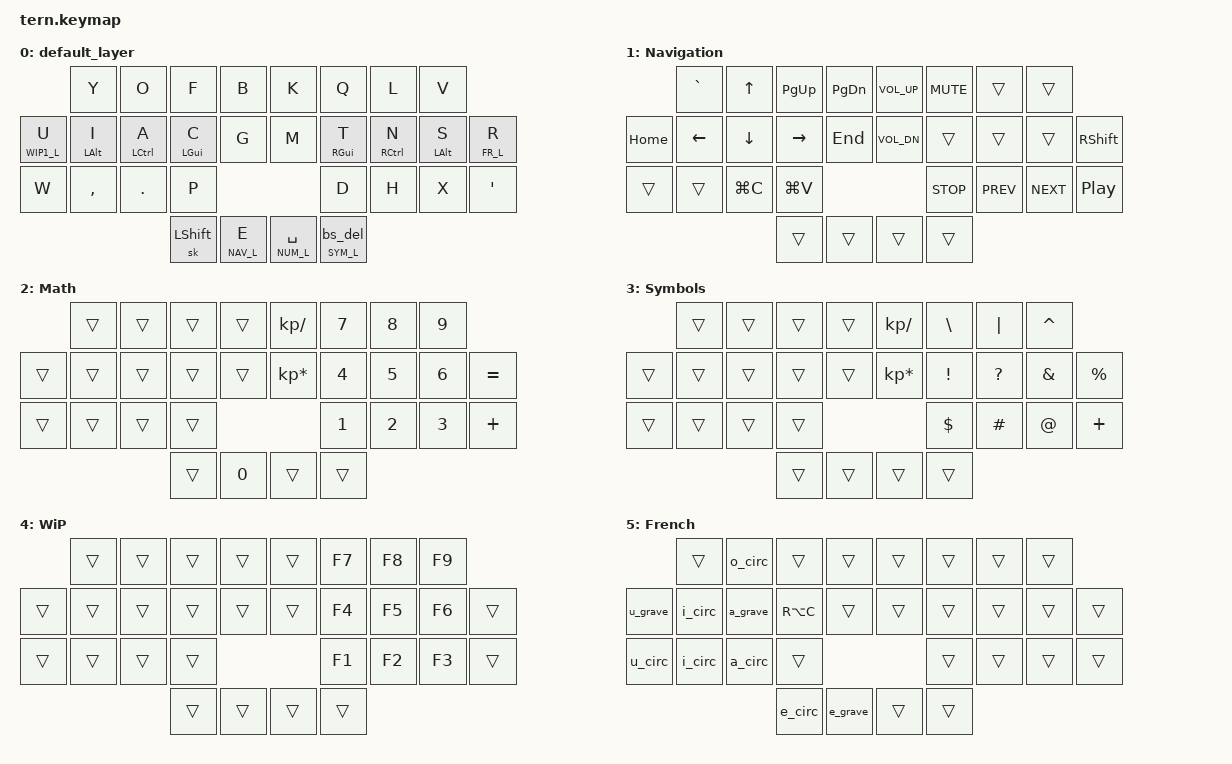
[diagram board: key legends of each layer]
/*
 * Copyright (c) 2022 The ZMK Contributors
 *
 * SPDX-License-Identifier: MIT
 */

#include <behaviors.dtsi>
#include <dt-bindings/zmk/keys.h>

#define DEF_L 0
#define NAV_L 1
#define NUM_L 2
#define SYM_L 3
#define WIP1_L 4
#define FR_L 5

// Using layer taps on thumbs, having quick tap as well helps w/ repeating space/backspace
&lt { quick_tap_ms = <200>; };

/ {
    behaviors {
        hm: homerow_mods {
            compatible = "zmk,behavior-hold-tap";
            label = "homerow mods";
            #binding-cells = <2>;
            flavor = "balanced";
            tapping-term-ms = <150>;
            quick-tap-ms = <200>;
            // TODO Review for pinky
            require-prior-idle-ms = <50>;
            bindings = <&kp>, <&kp>;
        };

        // UNUSED ATM
        // pe_co: period_comma {
        //     compatible = "zmk,behavior-mod-morph";
        //     label = "PERIOD_COMMA";
        //     #binding-cells = <0>;
        //     bindings = <&kp PERIOD>, <&kp COMMA>;
        //     mods = <(MOD_LSFT|MOD_RSFT)>;
        // };

        // TODO Unused atm, using dedicated key
        // sp_bs: sp_bs {
        //     compatible = "zmk,behavior-mod-morph";
        //     label = "SPACE_BACKSPACE";
        //     #binding-cells = <0>;
        //     bindings = <&kp SPACE>, <&kp BSPC>;
        //     mods = <(MOD_LSFT|MOD_RSFT)>;
        // };
    
        // lt_sp: layer_tap_space_backspace {
        //     compatible = "zmk,behavior-hold-tap";
        //     label = "LAYER_TAP_SPACE_BACKSPACE";
        //     #binding-cells = <2>;
        //     bindings = <&mo>, <&kp SPACE>;
        //     tapping-term-ms = <120>;
        //     quick-tap-ms = <200>;
        // };

        bs_del: backspace_delete {
            compatible = "zmk,behavior-mod-morph";
            label = "BACKSPACE_DELETE";
            #binding-cells = <0>;
            bindings = <&kp BSPC>, <&kp DEL>;
            mods = <(MOD_LSFT|MOD_RSFT)>;
        };
    
        lt_bs: layer_tap_backspace_delete {
            compatible = "zmk,behavior-hold-tap";
            label = "LAYER_TAP_BACKSPACE_DELETE";
            #binding-cells = <2>;
            bindings = <&mo>, <&bs_del>;
            tapping-term-ms = <120>;
            quick-tap-ms = <200>;
        };

        // TODO Unused atm, not playing well w/ interruptions (tap-e -> qeu)
        // qu_q: tap_dance_0 {
        //     compatible = "zmk,behavior-tap-dance";
        //     label = "TAP_DANCE_0";
        //     #binding-cells = <0>;
        //     bindings = <&qu>, <&kp Q>;
        // };
    };

    macros {
        e_acute: e_acute{
            label = "é";
            compatible = "zmk,behavior-macro";
            #binding-cells = <0>;
            bindings
                = <&macro_tap &kp RA(E)>
                , <&macro_tap &kp E>
                ;
        };

        e_grave: e_grave{
            label = "è";
            compatible = "zmk,behavior-macro";
            #binding-cells = <0>;
            bindings
                = <&macro_tap &kp RA(GRAVE)>
                , <&macro_tap &kp E>
                ;
        };

        a_grave: a_grave{
            label = "à";
            compatible = "zmk,behavior-macro";
            #binding-cells = <0>;
            bindings
                = <&macro_tap &kp RA(GRAVE)>
                , <&macro_tap &kp A>
                ;
        };

        u_grave: u_grave{
            label = "ù";
            compatible = "zmk,behavior-macro";
            #binding-cells = <0>;
            bindings
                = <&macro_tap &kp RA(GRAVE)>
                , <&macro_tap &kp U>
                ;
        };

        i_circ: i_circ{
            label = "î";
            compatible = "zmk,behavior-macro";
            #binding-cells = <0>;
            bindings
                = <&macro_tap &kp RA(I)>
                , <&macro_tap &kp I>
                ;
        };
        
        e_circ: e_circ{
            label = "ê";
            compatible = "zmk,behavior-macro";
            #binding-cells = <0>;
            bindings
                = <&macro_tap &kp RA(I)>
                , <&macro_tap &kp E>
                ;
        };

        a_circ: a_circ{
            label = "â";
            compatible = "zmk,behavior-macro";
            #binding-cells = <0>;
            bindings
                = <&macro_tap &kp RA(I)>
                , <&macro_tap &kp A>
                ;
        };

        u_circ: u_circ{
            label = "û";
            compatible = "zmk,behavior-macro";
            #binding-cells = <0>;
            bindings
                = <&macro_tap &kp RA(I)>
                , <&macro_tap &kp U>
                ;
        };

        o_circ: o_circ{
            label = "ô";
            compatible = "zmk,behavior-macro";
            #binding-cells = <0>;
            bindings
                = <&macro_tap &kp RA(I)>
                , <&macro_tap &kp O>
                ;
        };

        // qu: qu{
        //     label = "qu";
        //     compatible = "zmk,behavior-macro";
        //     #binding-cells = <0>;
        //     bindings
        //         = <&macro_tap &kp Q>
        //         , <&macro_tap &kp U>
        //         ;
        // };
    };

    combos {
        compatible = "zmk,combos";

        // This need to be the 1st entry for the yq command in README to work
        combo_caps_word {
            timeout-ms = <50>;
            key-positions = <18 25>;
            bindings = <&kp CAPSLOCK>;
            layers = <0>;
        };

        combo_top_left_left {
            timeout-ms = <50>;
            key-positions = <0 1>;
            bindings = <&kp J>;
            layers = <0>;
        };

        combo_top_left_right {
            timeout-ms = <50>;
            key-positions = <1 2>;
            bindings = <&kp SEMICOLON>;
            layers = <0>;
        };

        combo_top_right_left {
            timeout-ms = <50>;
            key-positions = <5 6>;
            bindings = <&kp MINUS>;
            layers = <0>;
        };

        combo_top_right_right {
            timeout-ms = <50>;
            key-positions = <6 7>;
            bindings = <&kp Z>;
            layers = <0>;
        };

        combo_bottom_right_left {
            timeout-ms = <50>;
            key-positions = <22 23>;
            bindings = <&kp RET>;
            layers = <0>;
        };

        // Braces combos
        combo_col_0 {
            timeout-ms = <50>;
            key-positions = <0 9>;
            bindings = <&kp LEFT_BRACKET>;
            layers = <0>;
        };

        combo_col_2 {
            timeout-ms = <50>;
            key-positions = <1 10>;
            bindings = <&kp LEFT_PARENTHESIS>;
            layers = <0>;
        };

        combo_col_3 {
            timeout-ms = <50>;
            key-positions = <2 11>;
            bindings = <&kp LEFT_BRACE>;
            layers = <0>;
        };

        combo_col_4 {
            timeout-ms = <50>;
            key-positions = <5 14>;
            bindings = <&kp RIGHT_BRACE>;
            layers = <0>;
        };

        combo_col_5 {
            timeout-ms = <50>;
            key-positions = <6 15>;
            bindings = <&kp RIGHT_PARENTHESIS>;
            layers = <0>;
        };


        combo_col_6 {
            timeout-ms = <50>;
            key-positions = <7 16>;
            bindings = <&kp RIGHT_BRACKET>;
            layers = <0>;
        };

        // Extra exotic combos
        combo_thumbs {
            timeout-ms = <50>;
            key-positions = <27 29>;
            bindings = <&e_acute>;
            layers = <0>;
        };

        combo_left_thumb {
            timeout-ms = <50>;
            key-positions = <26 27>;
            bindings = <&kp SLASH>;
            layers = <0>;
        };

        combo_right_thumb {
            timeout-ms = <50>;
            key-positions = <28 29>;
            bindings = <&kp TAB>;
            layers = <0>;
        };

        // Vim-inspired (old J-K)
        combo_exit {
            timeout-ms = <50>;
            key-positions = <21 20>;
            bindings = <&kp ESC>;
            layers = <0>;
        };

        // combo_left_diagonal_up {
        //     timeout-ms = <50>;
        //     key-positions = <2 10>;
        //     bindings = <&e_acute>;
        //     layers = <0>;
        // };

        // combo_left_diagonal_down {
        //     timeout-ms = <50>;
        //     key-positions = <10 21>;
        //     bindings = <&e_grave>;
        //     layers = <0>;
        // };

        // combo_left_pinky {
        //     timeout-ms = <50>;
        //     key-positions = <0 8>;
        //     bindings = <&a_grave>;
        //     layers = <0>;
        // };
    };

    keymap {
        compatible = "zmk,keymap";

        default_layer {
            bindings = <
                             &kp Y      &kp O       &kp F           &kp B        &kp K            &kp Q          &kp L       &kp V
                &lt WIP1_L U &hm LALT I &hm LCTRL A &hm LGUI C      &kp G        &kp M            &hm RGUI T     &hm RCTRL N &hm LALT S &lt FR_L R
                &kp W        &kp COMMA  &kp PERIOD  &kp P                                         &kp D          &kp H       &kp X      &kp SINGLE_QUOTE

                                                    &sk LSHIFT      &lt NAV_L E  &lt NUM_L SPACE  &lt_bs SYM_L 0
            >;
        };
        
        nav_layer {
            label = "Navigation";
            bindings = <
                           &kp GRAVE  &kp UP      &kp PAGE_UP     &kp PAGE_DOWN &kp C_VOL_UP    &kp C_MUTE     &trans      &trans
                &kp HOME   &kp LEFT   &kp DOWN    &kp RIGHT       &kp END       &kp C_VOL_DN    &trans         &trans      &trans     &kp RIGHT_SHIFT
                &trans     &trans     &kp LG(C)   &kp LG(V)                     &kp C_STOP      &kp C_PREV     &kp C_NEXT  &kp C_PP

                                                  &trans          &trans        &trans          &trans
            >;
        };

        math_layer {
            label = "Math";
            bindings = <
                           &trans         &trans      &trans          &trans        &kp KP_DIVIDE   &kp N7     &kp N8      &kp N9
                &trans     &trans         &trans      &trans          &trans        &kp KP_MULTIPLY &kp N4     &kp N5      &kp N6     &kp EQUAL
                &trans     &trans         &trans      &trans                                        &kp N1     &kp N2      &kp N3     &kp PLUS

                                                      &trans          &kp N0        &trans          &trans
            >;
        };

        sym_layer {
            label = "Symbols";
            bindings = <
                           &trans         &trans      &trans          &trans        &kp KP_DIVIDE   &kp BSLH   &kp PIPE    &kp CARET
                &trans     &trans         &trans      &trans          &trans        &kp KP_MULTIPLY &kp EXCL   &kp QMARK   &kp AMPS   &kp PERCENT
                &trans     &trans         &trans      &trans                                        &kp DOLLAR &kp HASH    &kp AT     &kp PLUS

                                                      &trans          &trans        &trans          &trans
            >;
        };

        wip1_layer {
            label = "WiP";
            bindings = <
                           &trans     &trans      &trans          &trans       &trans          &kp F7         &kp F8      &kp F9
                &trans     &trans     &trans      &trans          &trans       &trans          &kp F4         &kp F5      &kp F6     &trans
                &trans     &trans     &trans      &trans                                       &kp F1         &kp F2      &kp F3     &trans

                                                  &trans          &trans       &trans          &trans
            >;
        };
        
        french_layer {
            label = "French";
            bindings = <
                           &trans     &o_circ     &trans          &trans       &trans          &trans         &trans      &trans
                &u_grave   &i_circ    &a_grave    &kp RA(C)       &trans       &trans          &trans         &trans      &trans     &trans
                &u_circ    &i_circ    &a_circ     &trans                                       &trans         &trans      &trans     &trans

                                                  &e_circ        &e_grave     &trans          &trans
            >;
        };
    };
};
